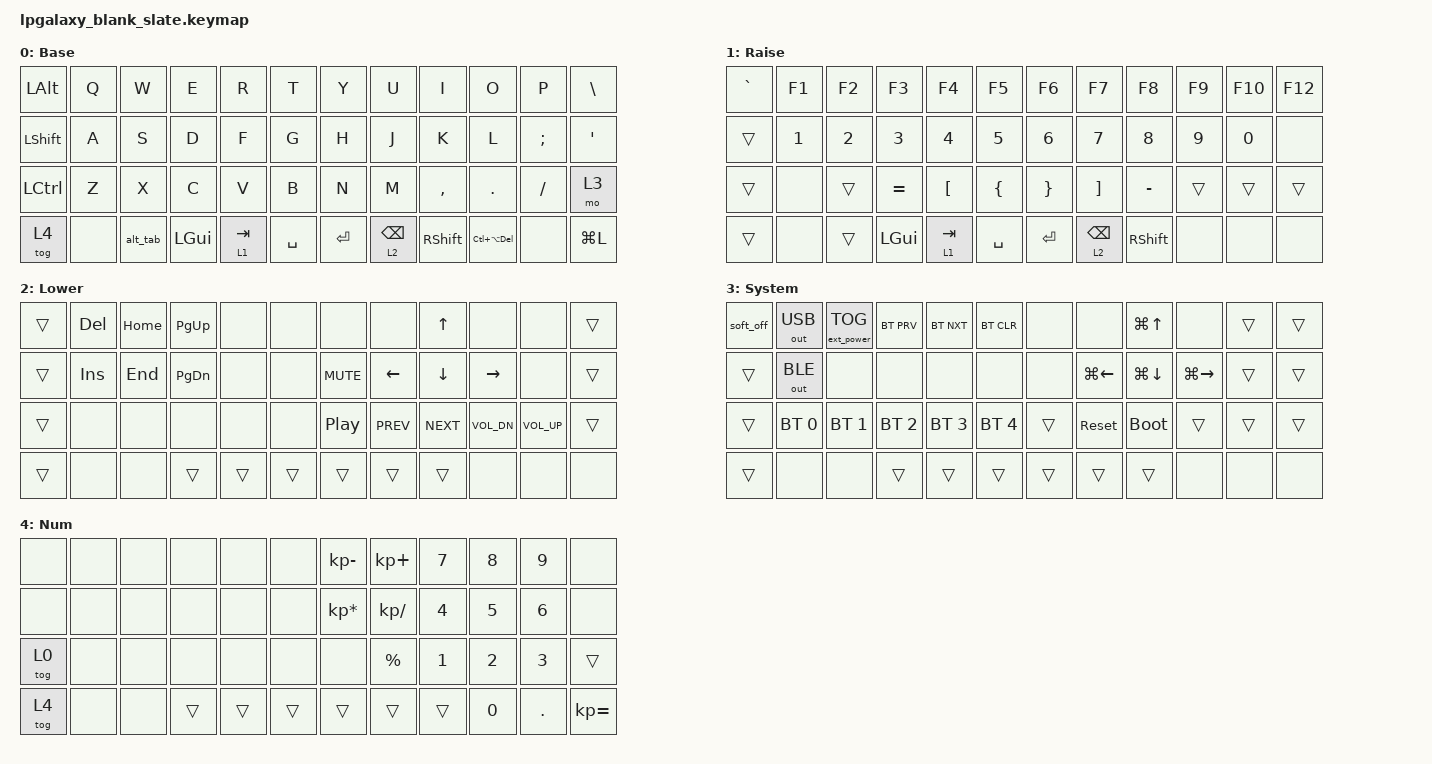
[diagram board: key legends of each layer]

#include <behaviors.dtsi>
#include <dt-bindings/zmk/keys.h>
#include <dt-bindings/zmk/bt.h>
#include <dt-bindings/zmk/outputs.h>
#include <dt-bindings/zmk/ext_power.h>

#define QWERTY_BASE 1
#define TBLE_ORTHO   1
#define RAI_L 1
#define LOW_L 2
#define FUN_L 3
#define NUM_L 4

#define BT(n) BT_SEL n


/ {
    chosen { zmk,matrix_transform = &ortho_transform; };

    combos {
        compatible = "zmk,combos";

        // Key Positions
        // -------------------------------------------------------------------------------------------------------------
        // |   0    |   1    |   2    |   3    |   4    |   5    |   6    |   7    |   8    |   9    |   10   |   11   |
        // |   12   |   13   |   14   |   15   |   16   |   17   |   18   |   19   |   20   |   21   |   22   |   23   |
        // |   24   |   25   |   26   |   27   |   28   |   29   |   20   |   31   |   32   |   33   |   34   |   35   |
        // |   36   |   37   |   38   |   39   |   40   |   41   |   42   |   43   |   44   |   45   |   46   |   47   |

        esc {
            bindings = <&kp ESC>;
            key-positions = <19 20>;
        };

        caps {
            bindings = <&kp CAPS>;
            key-positions = <1 2>;
        };
    };

    // Macro to tap both Alt and Tab quickly
        alt_tab_macro: alt_tab_macro {
            compatible = "zmk,behavior-macro";
            #binding-cells = <0>;
            wait-ms = <10>;
            tap-ms = <15>;
            bindings = <&kp LALT &kp TAB>;
        };

        // Tri-state behavior: Holds LALT down until a non-ignored key is pressed
        alt_tab: alt_tab {
            compatible = "zmk,behavior-tri-state";
            #binding-cells = <0>;
            bindings = <&kt LALT>, <&alt_tab_macro>, <&kt LALT>;
            // Optional: ignore specific key positions if you want other keys 
            // to cycle through windows without closing the menu.
            // ignored-key-positions = <1 2>; 
        };

    keymap {
        compatible = "zmk,keymap";

        base_layer {
            // --------------------------------------------------------------------------------------------------
            // |  ALT   |   Q   |   W   |   E   |   R   |   T   |   Y   |   U   |   I   |   O   |   P   |  \ |  |
            // |  SFT   |   A   |   S   |   D   |   F   |   G   |   H   |   J   |   K   |   L   |   ;   |  ' "  |
            // |  Ctrl  |   Z   |   X   |   C   |   V   |   B   |   N   |   M   |   , < |   . > |   / ? |  FUN  |
            // |        |       |       |  GUI  |  LOW  |  SPC  |  ENT  |  RAI  |  SFT  |       |       |       |

            label = "Base";
            bindings = <
&kp LEFT_ALT    &kp Q  &kp W        &kp E         &kp R      &kp T      &kp Y    &kp U       &kp I       &kp O            &kp P     &kp BSLH
&kp LEFT_SHIFT  &kp A  &kp S        &kp D         &kp F      &kp G      &kp H    &kp J       &kp K       &kp L            &kp SEMI  &kp SQT
&kp LCTRL       &kp Z  &kp X        &kp C         &kp V      &kp B      &kp N    &kp M       &kp COMMA   &kp DOT          &kp FSLH  &mo 3
&tog 4          &none  &alt_tab     &kp LEFT_GUI  &lt 1 TAB  &kp SPACE  &kp RET  &lt 2 BSPC  &kp RSHIFT  &kp LC(LA(DEL))  &none     &kp LG(L)
            >;
        };

        raise_layer {
            // --------------------------------------------------------------------------------------------------
            // |  ~ `   |   F1  |   F2  |   F3  |   F4  |   F5  |   F6  |   F7  |   F8  |   F9  |  F10  |  F12  |
            // |        |   1   |   2   |   3   |   4   |   5   |   6   |   7   |   8   |   9   |   0   |       |
            // |        |       |       |   = + |   [   |   {   |   }   |   ]   |   - _ |       |       |       |
            // |        |       |       |  GUI  |  LOW  |  SPC  |  ENT  |  RAI  |  SFT  |       |       |       |

            bindings = <
&kp GRAVE  &kp F1  &kp F2  &kp F3     &kp F4     &kp F5     &kp F6    &kp F7      &kp F8      &kp F9  &kp F10  &kp F12
&trans     &kp N1  &kp N2  &kp N3     &kp N4     &kp N5     &kp N6    &kp N7      &kp N8      &kp N9  &kp N0   &none
&trans     &none   &trans  &kp EQUAL  &kp LBKT   &kp LBRC   &kp RBRC  &kp RBKT    &kp MINUS   &trans  &trans   &trans
&trans     &none   &trans  &kp LGUI   &lt 1 TAB  &kp SPACE  &kp RET   &lt 2 BSPC  &kp RSHIFT  &none   &none    &none
            >;

            label = "Raise";
        };

        lower_layer {
            // --------------------------------------------------------------------------------------------------
            // |        |  DEL  | HOME  | PGUP  |       |       |       |       |   UP  |       |       |       |
            // |        |  INS  |  END  | PGDN  |       |       | MUTE  | LEFT  | DOWN  | RIGHT |       |       |
            // |        |       |       |       |       |       | MPLY  | MPRV  | MNXT  |  VOLD |  VOLU |  FUN  |
            // |        |       |       |  GUI  |  LOW  |  SPC  |  ENT  |  RAI  |  SFT  |       |       |       |

            bindings = <
&trans  &kp DEL  &kp HOME  &kp PG_UP  &none   &none   &none       &none       &kp UP      &none         &none         &trans
&trans  &kp INS  &kp END   &kp PG_DN  &none   &none   &kp C_MUTE  &kp LEFT    &kp DOWN    &kp RIGHT     &none         &trans
&trans  &none    &none     &none      &none   &none   &kp C_PP    &kp C_PREV  &kp C_NEXT  &kp C_VOL_DN  &kp C_VOL_UP  &trans
&trans  &none    &none     &trans     &trans  &trans  &trans      &trans      &trans      &none         &none         &none
            >;

            label = "Lower";
        };

        func_layer {
            // --------------------------------------------------------------------------------------------------
            // |        |  USB  |  POW  |  BTP  |  BTN  |  BTC  |       |       | WSNU  |       |       |       |
            // | caltd  |  BLE  |       |       |       |       |       | WSNL  | WSND  | WSNR  |       |       |
            // |  Ctrl  |  BT0  |  BT1  |  BT2  |  BT3  |  BT4  | WLCK  |  RST  | BOOT  |       |       |  FUN  |
            // |        |       |       |  GUI  |  LOW  |  SPC  |  ENT  |  RAI  |  SFT  |       |       |       |

            bindings = <
&soft_off  &out OUT_USB  &ext_power EP_TOG  &bt BT_PRV    &bt BT_NXT    &bt BT_CLR    &none   &none         &kp LG(UP_ARROW)    &none          &trans  &trans
&trans     &out OUT_BLE  &none              &none         &none         &none         &none   &kp LG(LEFT)  &kp LG(DOWN_ARROW)  &kp LG(RIGHT)  &trans  &trans
&trans     &bt BT_SEL 0  &bt BT_SEL 1       &bt BT_SEL 2  &bt BT_SEL 3  &bt BT_SEL 4  &trans  &sys_reset    &bootloader         &trans         &trans  &trans
&trans     &none         &none              &trans        &trans        &trans        &trans  &trans        &trans              &none          &none   &none
            >;

            label = "System";
        };

        num_layer {
            // --------------------------------------------------------------------------------------------------
            // |        |       |       |       |       |       |   -   |   +   |   7   |   8   |   9   |       |
            // |        |       |       |       |       |       |   *   |   /   |   4   |   5   |   6   |       |
            // |        |       |       |       |       |       |       |   %   |   1   |   2   |   3   |  FUN  |
            // |        |       |       |  GUI  |  LOW  |  SPC  |  ENT  |  RAI  |  SFT  |   0   |   .   |       |

            label = "Num";
            bindings = <
&none   &none  &none  &none   &none   &none   &kp KP_MINUS     &kp KP_PLUS    &kp N7  &kp N8  &kp N9   &none
&none   &none  &none  &none   &none   &none   &kp KP_MULTIPLY  &kp KP_DIVIDE  &kp N4  &kp N5  &kp N6   &none
&tog 0  &none  &none  &none   &none   &none   &none            &kp PERCENT    &kp N1  &kp N2  &kp N3   &trans
&tog 4  &none  &none  &trans  &trans  &trans  &trans           &trans         &trans  &kp N0  &kp DOT  &kp KP_EQUAL
            >;
        };
    };
};
